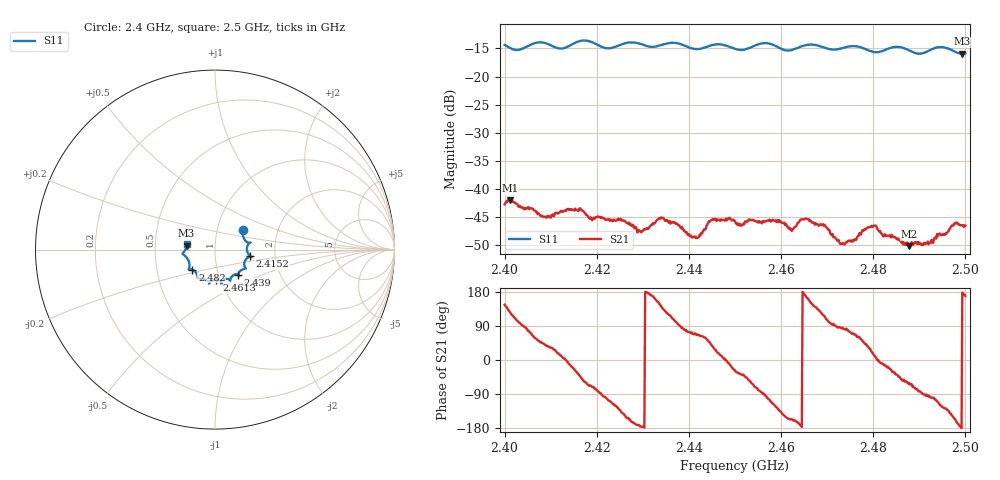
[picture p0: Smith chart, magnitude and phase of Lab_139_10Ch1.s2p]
# Hz S RI R 50
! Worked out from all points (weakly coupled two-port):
!   601 points, 2.4 GHz to 2.5 GHz, reference 50 ohm
!   highest |S21| = -42.00 dB at 2.4012 GHz (marker M1); lowest = -50.2 dB at 2.4878 GHz (marker M2)
!   lowest |S11| = -15.9 dB at 2.4993 GHz (marker M3), VSWR 1.38, Z = 36.3 + j1.61 ohm
!   |S11| at or under -10 dB: start of sweep to end of sweep
!   S12 and S22 are empty: the file has one direction only
!   S11 on the Smith chart (normalised r, x): 2.4 GHz: 1.33, +0.31; 2.4152 GHz: 1.48, -0.11; 2.439 GHz: 1.24, -0.36; 2.4613 GHz: 0.96, -0.34; 2.482 GHz: 0.76, -0.17; 2.5 GHz: 0.73, +0.05
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2.4e9  0.1557 0.1112  -0.00605 0.0041  0 0  0 0
2.401167e9  0.1541 0.0927  -0.00471 0.0064  0 0  0 0
2.408667e9  0.1956 0.0397  0.00425 0.00376  0 0  0 0
2.415167e9  0.195 -0.0367  0.00579 -0.00277  0 0  0 0
2.416667e9  0.2044 -0.0425  0.00437 -0.00476  0 0  0 0
2.422333e9  0.1666 -0.0637  -0.00123 -0.00521  0 0  0 0
2.429333e9  0.1651 -0.1061  -0.00418 -0.000378  0 0  0 0
2.433333e9  0.1325 -0.1326  -0.00481 0.00243  0 0  0 0
2.439e9  0.128 -0.1391  0.000801 0.00421  0 0  0 0
2.441667e9  0.1016 -0.1433  0.00137 0.00339  0 0  0 0
2.445167e9  0.084 -0.1719  0.0044 0.00316  0 0  0 0
2.45e9  0.0681 -0.1632  0.00459 -0.00237  0 0  0 0
2.456667e9  0.0395 -0.1946  -0.000436 -0.00517  0 0  0 0
2.461333e9  0.00751 -0.1704  -0.00414 -0.00206  0 0  0 0
2.466667e9  -0.033 -0.1899  -0.00427 0.00264  0 0  0 0
2.473333e9  -0.0806 -0.1603  0.00028 0.0033  0 0  0 0
2.48e9  -0.107 -0.1266  0.0045 0.00124  0 0  0 0
2.482e9  -0.1264 -0.112  0.00389 -0.000636  0 0  0 0
2.483333e9  -0.1394 -0.1101  0.00357 -0.00139  0 0  0 0
2.487833e9  -0.1423 -0.0946  0.0015 -0.00272  0 0  0 0
2.499333e9  -0.1583 0.0216  -0.00475 0.00017  0 0  0 0
2.5e9  -0.1577 0.0335  -0.00463 0.000913  0 0  0 0
